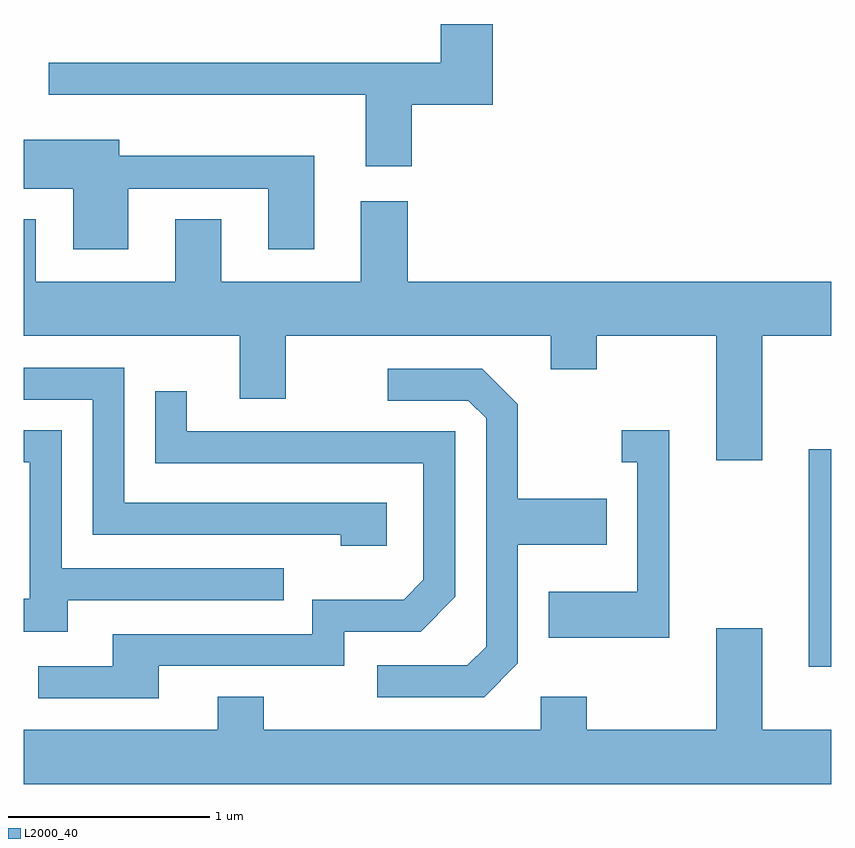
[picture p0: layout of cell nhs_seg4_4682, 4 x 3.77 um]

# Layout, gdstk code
import gdstk
lib = gdstk.Library(unit=1e-6, precision=1e-09)
def R(c, l, rs):  # rectangles x0, y0, x1, y1
    for r in rs: c.add(gdstk.rectangle(r[:2], r[2:], *l))
def P(c, l, *ps):  # polygons
    for p in ps: c.add(gdstk.Polygon(p, *l))
L2000_40 = (2000, 40)

nhs_seg4_4682 = lib.new_cell('nhs_seg4_4682')
R(nhs_seg4_4682, L2000_40, [(325.501,1370.796,325.611,1371.874)])
P(nhs_seg4_4682, L2000_40, [(323.534,1373.581),(323.934,1373.581),(323.934,1373.982),(323.676,1373.982),(323.676,1373.789),(321.733,1373.789),(321.733,1373.631),(323.306,1373.631),(323.306,1373.276),(323.534,1373.276)],
  [(322.129,1373.166),(322.821,1373.166),(322.821,1372.866),(323.049,1372.866),(323.049,1373.329),(322.084,1373.329),(322.084,1373.409),(321.611,1373.409),(321.611,1373.166),(321.856,1373.166),(321.856,1372.866),(322.129,1372.866)],
  [(325.269,1372.436),(325.611,1372.436),(325.611,1372.704),(323.514,1372.704),(323.514,1373.104),(323.281,1373.104),(323.281,1372.704),(322.589,1372.704),(322.589,1373.014),(322.361,1373.014),(322.361,1372.704),(321.669,1372.704),(321.669,1373.014),(321.611,1373.014),(321.611,1372.436),(322.681,1372.436),(322.681,1372.126),(322.909,1372.126),(322.909,1372.436),(324.221,1372.436),(324.221,1372.271),(324.449,1372.271),(324.449,1372.436),(325.041,1372.436),(325.041,1371.821),(325.269,1371.821)],
  [(323.409,1371.609),(322.109,1371.609),(322.109,1372.279),(321.611,1372.279),(321.611,1372.121),(321.951,1372.121),(321.951,1371.451),(323.181,1371.451),(323.181,1371.396),(323.409,1371.396)],
  [(324.059,1370.814),(324.059,1371.401),(324.499,1371.401),(324.499,1371.629),(324.059,1371.629),(324.059,1372.097),(323.882,1372.274),(323.413,1372.274),(323.413,1372.116),(323.814,1372.116),(323.901,1372.029),(323.901,1370.897),(323.809,1370.804),(323.363,1370.804),(323.363,1370.646),(323.892,1370.646)],
  [(322.279,1370.801),(323.199,1370.801),(323.199,1370.971),(323.577,1370.971),(323.749,1371.144),(323.749,1371.964),(322.419,1371.964),(322.419,1372.163),(322.261,1372.163),(322.261,1371.806),(323.591,1371.806),(323.591,1371.227),(323.494,1371.129),(323.041,1371.129),(323.041,1370.959),(322.051,1370.959),(322.051,1370.799),(321.683,1370.799),(321.683,1370.641),(322.279,1370.641)],
  [(321.829,1371.126),(322.898,1371.126),(322.898,1371.284),(321.799,1371.284),(321.799,1371.969),(321.611,1371.969),(321.611,1371.811),(321.641,1371.811),(321.641,1371.134),(321.611,1371.134),(321.611,1370.971),(321.829,1370.971)],
  [(324.809,1371.969),(324.573,1371.969),(324.573,1371.811),(324.651,1371.811),(324.651,1371.169),(324.211,1371.169),(324.211,1370.941),(324.809,1370.941)],
  [(325.611,1370.484),(325.269,1370.484),(325.269,1370.989),(325.041,1370.989),(325.041,1370.484),(324.399,1370.484),(324.399,1370.649),(324.171,1370.649),(324.171,1370.484),(322.799,1370.484),(322.799,1370.649),(322.571,1370.649),(322.571,1370.484),(321.611,1370.484),(321.611,1370.216),(325.611,1370.216)])

lib.write_gds('nhs_seg4_4682.gds')
